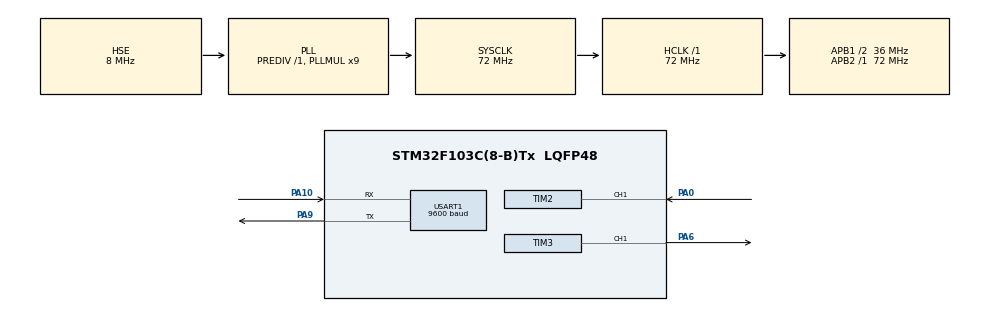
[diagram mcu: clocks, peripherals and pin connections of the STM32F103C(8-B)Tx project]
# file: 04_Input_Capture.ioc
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Mcu.Family=STM32F1
Mcu.Name=STM32F103C(8-B)Tx
Mcu.Package=LQFP48
NVIC.PriorityGroup=NVIC_PRIORITYGROUP_4
NVIC.TIM2_IRQn=true\:0\:0\:false\:false\:true\:true\:true\:true
PA0-WKUP.Signal=S_TIM2_CH1_ETR
PA10.Mode=Asynchronous
PA10.Signal=USART1_RX
PA6.Signal=S_TIM3_CH1
PA9.Mode=Asynchronous
PA9.Signal=USART1_TX
PD0-OSC_IN.Mode=HSE-External-Oscillator
PD0-OSC_IN.Signal=RCC_OSC_IN
PD1-OSC_OUT.Mode=HSE-External-Oscillator
PD1-OSC_OUT.Signal=RCC_OSC_OUT
ProjectManager.HeapSize=0x200
ProjectManager.StackSize=0x400
ProjectManager.TargetToolchain=STM32CubeIDE
RCC.AHBFreq_Value=72000000
RCC.APB1CLKDivider=RCC_HCLK_DIV2
RCC.APB1Freq_Value=36000000
RCC.APB1TimFreq_Value=72000000
RCC.APB2Freq_Value=72000000
RCC.APB2TimFreq_Value=72000000
RCC.HCLKFreq_Value=72000000
RCC.PLLMUL=RCC_PLL_MUL9
RCC.PLLSourceVirtual=RCC_PLLSOURCE_HSE
RCC.SYSCLKFreq_VALUE=72000000
RCC.SYSCLKSource=RCC_SYSCLKSOURCE_PLLCLK
RCC.USBFreq_Value=72000000
SH.S_TIM2_CH1_ETR.0=TIM2_CH1,Input_Capture1_from_TI1
SH.S_TIM3_CH1.0=TIM3_CH1,PWM Generation1 CH1
TIM2.Channel-Input_Capture1_from_TI1=TIM_CHANNEL_1
TIM2.Channel-Input_Capture2_from_TI1_63=TIM_CHANNEL_2
TIM2.ICPolarity_CH2=TIM_INPUTCHANNELPOLARITY_FALLING
TIM2.Prescaler=71
TIM3.AutoReloadPreload=TIM_AUTORELOAD_PRELOAD_ENABLE
TIM3.Channel-PWM\ Generation1\ CH1=TIM_CHANNEL_1
TIM3.Period=999
TIM3.Prescaler=71
USART1.BaudRate=9600
USART1.VirtualMode=VM_ASYNC
VP_SYS_VS_ND.Mode=No_Debug
VP_TIM2_VS_ClockSourceINT.Mode=Internal
VP_TIM2_VS_indirect_ch1.Mode=Input_Capture2_from_TI1_63
VP_TIM3_VS_ClockSourceINT.Mode=Internal
board=custom

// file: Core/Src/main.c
/* USER CODE BEGIN Header */
/**
  ******************************************************************************
  * @file           : main.c
  * @brief          : Main program body
  ******************************************************************************
  * @attention
  *
  * Copyright (c) 2026 STMicroelectronics.
  * All rights reserved.
  *
  * This software is licensed under terms that can be found in the LICENSE file
  * in the root directory of this software component.
  * If no LICENSE file comes with this software, it is provided AS-IS.
  *
  ******************************************************************************
  */
/* USER CODE END Header */
#include "main.h"
#include "tim.h"
#include "usart.h"
#include "gpio.h"

/* USER CODE BEGIN Includes */
#include <stdio.h>
#include <string.h>
/* USER CODE END Includes */

/* USER CODE BEGIN PV */
uint32_t period = 0;
uint32_t ton = 0;
float frequency = 0;
float duty_cycle = 0;
char msg[100];
volatile uint8_t data_ready = 0;
/* USER CODE END PV */

void SystemClock_Config(void);

int main(void)
{

  /* MCU Configuration--------------------------------------------------------*/

  /* Reset of all peripherals, Initializes the Flash interface and the Systick. */
  HAL_Init();

  /* Configure the system clock */
  SystemClock_Config();

  /* Initialize all configured peripherals */
  MX_GPIO_Init();
  MX_TIM3_Init();
  MX_TIM2_Init();
  MX_USART1_UART_Init();
  /* USER CODE BEGIN 2 */
  // Start PWM generation
  HAL_TIM_PWM_Start(&htim3, TIM_CHANNEL_1);

    // Set Duty = 30%
  __HAL_TIM_SET_COMPARE(&htim3, TIM_CHANNEL_1, 300);

    // Start Input Capture with interrupt
  HAL_TIM_IC_Start_IT(&htim2, TIM_CHANNEL_1);
  HAL_TIM_IC_Start_IT(&htim2, TIM_CHANNEL_2);
  /* USER CODE END 2 */

  /* Infinite loop */
  while (1)
  {

    /* USER CODE BEGIN 3 */
	    if(data_ready)
	    {
	        sprintf(msg, "Freq = %.2f Hz | Duty = %.2f %%\r\n",
	                frequency,
	                duty_cycle);

	        HAL_UART_Transmit(&huart1,
	                          (uint8_t*)msg,
	                          strlen(msg),
	                          100);

	        data_ready = 0;
	    }
  }
  /* USER CODE END 3 */
}

void SystemClock_Config(void)
{
  RCC_OscInitTypeDef RCC_OscInitStruct = {0};
  RCC_ClkInitTypeDef RCC_ClkInitStruct = {0};

  /** Initializes the RCC Oscillators according to the specified parameters
  * in the RCC_OscInitTypeDef structure.
  */
  RCC_OscInitStruct.OscillatorType = RCC_OSCILLATORTYPE_HSE;
  RCC_OscInitStruct.HSEState = RCC_HSE_ON;
  RCC_OscInitStruct.HSEPredivValue = RCC_HSE_PREDIV_DIV1;
  RCC_OscInitStruct.HSIState = RCC_HSI_ON;
  RCC_OscInitStruct.PLL.PLLState = RCC_PLL_ON;
  RCC_OscInitStruct.PLL.PLLSource = RCC_PLLSOURCE_HSE;
  RCC_OscInitStruct.PLL.PLLMUL = RCC_PLL_MUL9;
  if (HAL_RCC_OscConfig(&RCC_OscInitStruct) != HAL_OK)
  {
    Error_Handler();
  }

  /** Initializes the CPU, AHB and APB buses clocks
  */
  RCC_ClkInitStruct.ClockType = RCC_CLOCKTYPE_HCLK|RCC_CLOCKTYPE_SYSCLK
                              |RCC_CLOCKTYPE_PCLK1|RCC_CLOCKTYPE_PCLK2;
  RCC_ClkInitStruct.SYSCLKSource = RCC_SYSCLKSOURCE_PLLCLK;
  RCC_ClkInitStruct.AHBCLKDivider = RCC_SYSCLK_DIV1;
  RCC_ClkInitStruct.APB1CLKDivider = RCC_HCLK_DIV2;
  RCC_ClkInitStruct.APB2CLKDivider = RCC_HCLK_DIV1;

  if (HAL_RCC_ClockConfig(&RCC_ClkInitStruct, FLASH_LATENCY_2) != HAL_OK)
  {
    Error_Handler();
  }
}

/* USER CODE BEGIN 4 */
void HAL_TIM_IC_CaptureCallback(TIM_HandleTypeDef *htim)
{
    if(htim->Instance == TIM2)
    {
        static uint32_t last_rising = 0;

        if(htim->Channel == HAL_TIM_ACTIVE_CHANNEL_1) // Rising
        {
            uint32_t current = HAL_TIM_ReadCapturedValue(htim, TIM_CHANNEL_1);

            if(last_rising != 0)
            {
                if(current >= last_rising)
                    period = current - last_rising;
                else
                    period = (0xFFFF - last_rising) + current + 1;
            }

            last_rising = current;
        }

        if(htim->Channel == HAL_TIM_ACTIVE_CHANNEL_2) // Falling
        {
            uint32_t falling = HAL_TIM_ReadCapturedValue(htim, TIM_CHANNEL_2);

            if(falling >= last_rising)
                ton = falling - last_rising;
            else
                ton = (0xFFFF - last_rising) + falling + 1;

            if(period != 0)
            {
                frequency = 1000000.0f / period;
                duty_cycle = ((float)ton / period) * 100.0f;

                if(duty_cycle <= 100.0f)
                    data_ready = 1;   // جهز البيانات فقط
            }
        }
    }
}
/* USER CODE END 4 */

void Error_Handler(void)
{
  __disable_irq();
  while (1)
  {
  }
}
